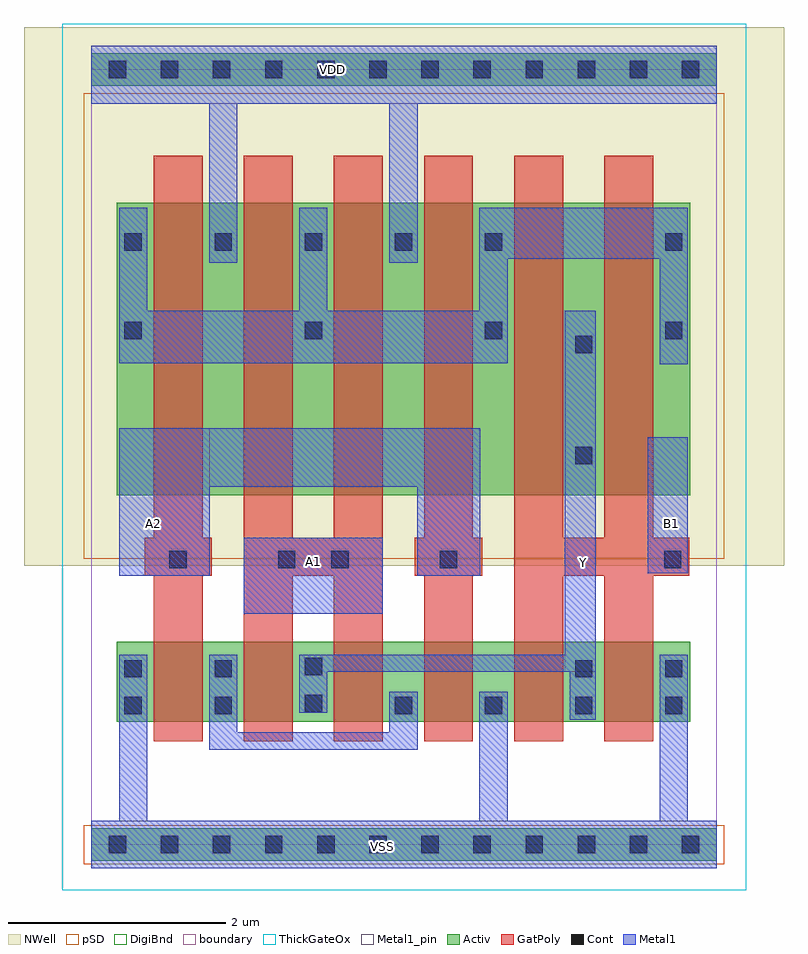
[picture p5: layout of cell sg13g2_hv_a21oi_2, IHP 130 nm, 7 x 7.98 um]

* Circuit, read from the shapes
.subckt sg13g2_hv_a21oi_2 A1 A2 B1 VDD VSS Y
XM1 n1 A2 VSS VSS sg13_hv_nmos w=0.74u l=0.45u m=2
XM2 Y A1 n1 VSS sg13_hv_nmos w=0.74u l=0.45u m=2
XM3 Y B1 VSS VSS sg13_hv_nmos w=0.74u l=0.45u m=2
XM4 VDD A2 n2 VDD sg13_hv_pmos w=2.69u l=0.45u m=2
XM5 n2 A1 VDD VDD sg13_hv_pmos w=2.69u l=0.45u m=2
XM6 Y B1 n2 VDD sg13_hv_pmos w=2.69u l=0.45u m=2
.ends

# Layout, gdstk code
import gdstk
lib = gdstk.Library(unit=1e-6, precision=1e-09)
def R(c, l, rs):  # rectangles x0, y0, x1, y1
    for r in rs: c.add(gdstk.rectangle(r[:2], r[2:], *l))
def A(c, l, x, y, w, h, nx, ny, dx, dy):  # array of equal rectangles
    R(c, l, [(x+i*dx, y+j*dy, x+i*dx+w, y+j*dy+h) for i in range(nx) for j in range(ny)])
def P(c, l, *ps):  # polygons
    for p in ps: c.add(gdstk.Polygon(p, *l))
Activ = (1, 0)
GatPoly = (5, 0)
Cont = (6, 0)
Metal1 = (8, 0)
Metal1_pin = (8, 2)
pSD = (14, 0)
DigiBnd = (16, 0)
NWell = (31, 0)
ThickGateOx = (44, 0)
boundary = (189, 4)

sg13g2_hv_a21oi_2 = lib.new_cell('sg13g2_hv_a21oi_2')
R(sg13g2_hv_a21oi_2, Activ, [(0,-0.15,5.76,0.15), (0.235,1.13,5.515,1.87), (0.235,3.22,5.515,5.91), (0,6.99,5.76,7.29)])
P(sg13g2_hv_a21oi_2, GatPoly, [(3.065,0.95),(3.065,2.475),(2.98,2.475),(2.98,2.825),(3.065,2.825),(3.065,6.345),(3.515,6.345),(3.515,2.825),(3.6,2.825),(3.6,2.475),(3.515,2.475),(3.515,0.95)],
  [(0.575,0.95),(0.575,2.475),(0.49,2.475),(0.49,2.825),(0.575,2.825),(0.575,6.345),(1.025,6.345),(1.025,2.825),(1.11,2.825),(1.11,2.475),(1.025,2.475),(1.025,0.95)],
  [(3.895,0.95),(3.895,6.345),(4.345,6.345),(4.345,2.825),(4.725,2.825),(4.725,6.345),(5.175,6.345),(5.175,2.825),(5.505,2.825),(5.505,2.475),(5.175,2.475),(5.175,0.95),(4.725,0.95),(4.725,2.475),(4.345,2.475),(4.345,0.95)],
  [(1.405,0.95),(1.405,6.345),(1.855,6.345),(1.855,2.825),(2.235,2.825),(2.235,6.345),(2.685,6.345),(2.685,0.95),(2.235,0.95),(2.235,2.475),(1.855,2.475),(1.855,0.95)])
A(sg13g2_hv_a21oi_2, Cont, 0.16, -0.08, 0.16, 0.16, 12, 2, 0.48, 7.14)
A(sg13g2_hv_a21oi_2, Cont, 2.795, 1.2, 0.16, 0.16, 4, 1, 0.83, 0)
A(sg13g2_hv_a21oi_2, Cont, 0.305, 4.655, 0.16, 0.16, 4, 1, 1.66, 0)
A(sg13g2_hv_a21oi_2, Cont, 0.305, 5.47, 0.16, 0.16, 5, 1, 0.83, 0)
R(sg13g2_hv_a21oi_2, Cont, [(0.305,1.2,0.465,1.36), (1.135,1.2,1.295,1.36), (1.965,1.22,2.125,1.38), (0.305,1.54,0.465,1.7), (1.135,1.54,1.295,1.7), (4.455,1.54,4.615,1.7), (5.285,1.54,5.445,1.7), (1.965,1.56,2.125,1.72), (0.72,2.545,0.88,2.705), (1.72,2.545,1.88,2.705), (2.21,2.545,2.37,2.705), (3.21,2.545,3.37,2.705), (5.275,2.545,5.435,2.705), (4.455,3.505,4.615,3.665), (4.455,4.525,4.615,4.685), (5.285,5.47,5.445,5.63)])
R(sg13g2_hv_a21oi_2, Metal1, [(1.405,2.125,2.685,2.825), (5.125,2.5,5.495,3.75)])
P(sg13g2_hv_a21oi_2, Metal1, [(0,-0.22),(0,0.22),(0.255,0.22),(0.255,1.75),(0.515,1.75),(0.515,0.22),(3.575,0.22),(3.575,1.41),(3.835,1.41),(3.835,0.22),(5.235,0.22),(5.235,1.75),(5.495,1.75),(5.495,0.22),(5.76,0.22),(5.76,-0.22)],
  [(1.085,5.36),(1.085,6.825),(0,6.825),(0,7.36),(5.76,7.36),(5.76,6.825),(3.005,6.825),(3.005,5.36),(2.745,5.36),(2.745,6.825),(1.345,6.825),(1.345,5.36)],
  [(5.235,4.425),(5.235,5.395),(3.835,5.395),(3.835,4.435),(0.255,4.435),(0.255,5.865),(0.515,5.865),(0.515,4.915),(1.915,4.915),(1.915,5.865),(2.175,5.865),(2.175,4.915),(3.575,4.915),(3.575,5.865),(5.495,5.865),(5.495,4.425)],
  [(4.405,1.15),(4.405,1.59),(2.175,1.59),(2.175,1.215),(1.915,1.215),(1.915,1.75),(4.36,1.75),(4.36,4.915),(4.645,4.915),(4.645,1.15)],
  [(1.085,0.875),(1.085,1.75),(1.345,1.75),(1.345,1.035),(2.745,1.035),(2.745,1.41),(3.005,1.41),(3.005,0.875)],
  [(0.255,2.475),(0.255,3.835),(3.58,3.835),(3.58,2.475),(3,2.475),(3,3.295),(1.09,3.295),(1.09,2.475)])
R(sg13g2_hv_a21oi_2, Metal1_pin, [(0,-0.22,5.76,0.22), (4.36,1.59,4.645,4.915), (1.405,2.125,2.685,2.825), (0.255,2.475,1.09,3.835), (5.125,2.5,5.495,3.75), (0,6.825,5.76,7.36)])
R(sg13g2_hv_a21oi_2, pSD, [(-0.07,-0.18,5.83,0.18), (-0.07,2.635,5.83,6.92)])
R(sg13g2_hv_a21oi_2, DigiBnd, [(0,0,5.76,7.14)])
R(sg13g2_hv_a21oi_2, NWell, [(-0.62,2.57,6.38,7.53)])
R(sg13g2_hv_a21oi_2, ThickGateOx, [(-0.27,-0.42,6.03,7.56)])
R(sg13g2_hv_a21oi_2, boundary, [(0,0,5.76,7.14)])
sg13g2_hv_a21oi_2.add(gdstk.Label('Y', (4.535,2.595), layer=8, texttype=25))
sg13g2_hv_a21oi_2.add(gdstk.Label('A2', (0.575,2.96), layer=8, texttype=25))
sg13g2_hv_a21oi_2.add(gdstk.Label('A1', (2.045,2.61), layer=8, texttype=25))
sg13g2_hv_a21oi_2.add(gdstk.Label('VSS', (2.685,-0.02), layer=8, texttype=25))
sg13g2_hv_a21oi_2.add(gdstk.Label('B1', (5.345,2.96), layer=8, texttype=25))
sg13g2_hv_a21oi_2.add(gdstk.Label('VDD', (2.225,7.14), layer=8, texttype=25))

lib.write_gds('sg13g2_hv_a21oi_2.gds')
